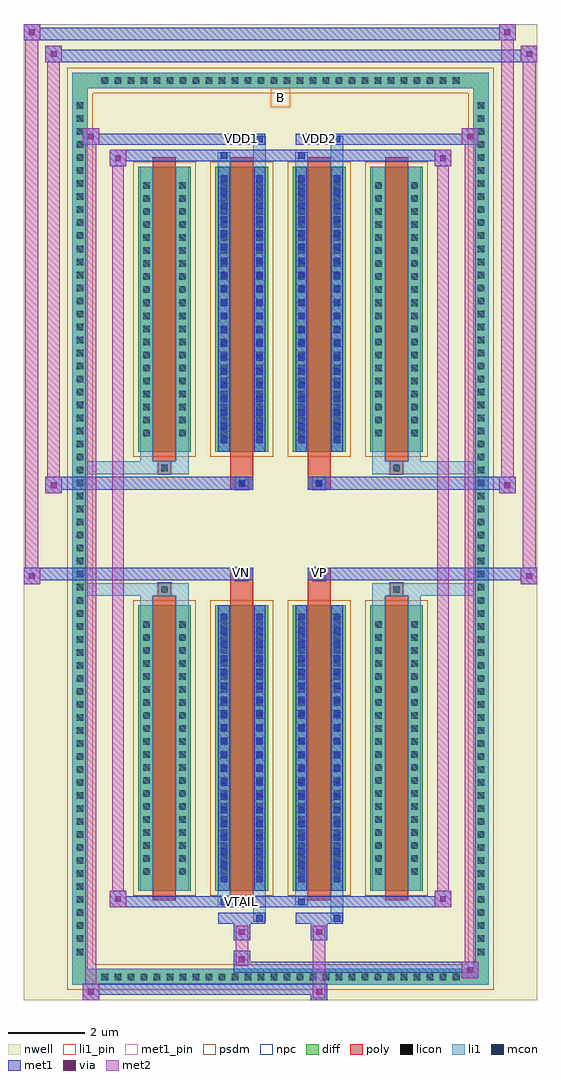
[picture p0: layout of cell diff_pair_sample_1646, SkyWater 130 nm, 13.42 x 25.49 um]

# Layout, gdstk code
import gdstk
lib = gdstk.Library(unit=1e-6, precision=5e-09)
def R(c, l, rs):  # rectangles x0, y0, x1, y1
    for r in rs: c.add(gdstk.rectangle(r[:2], r[2:], *l))
def A(c, l, x, y, w, h, nx, ny, dx, dy):  # array of equal rectangles
    R(c, l, [(x+i*dx, y+j*dy, x+i*dx+w, y+j*dy+h) for i in range(nx) for j in range(ny)])
def P(c, l, *ps):  # polygons
    for p in ps: c.add(gdstk.Polygon(p, *l))
nwell = (64, 20)
diff = (65, 20)
poly = (66, 20)
licon = (66, 44)
li1_pin = (67, 16)
li1 = (67, 20)
mcon = (67, 44)
met1_pin = (68, 16)
met1 = (68, 20)
via = (68, 44)
met2 = (69, 20)
psdm = (94, 20)
npc = (95, 20)

diff_pair_sample_1646 = lib.new_cell('diff_pair_sample_1646')
R(diff_pair_sample_1646, nwell, [(-6.71,-12.31,6.71,13.18), (-4.03,-10.5,-0.01,-0.82), (0.01,-10.5,4.03,-0.82), (-4.03,0.82,-0.01,10.5), (0.01,0.82,4.03,10.5)])
A(diff_pair_sample_1646, diff, -4.795, -11.91, 0.41, 0.41, 28, 2, 0.34, 23.41)
A(diff_pair_sample_1646, diff, -5.44, -11.255, 0.41, 0.41, 1, 66, 0, 0.34)
A(diff_pair_sample_1646, diff, 5.03, -11.255, 0.41, 0.41, 1, 66, 0, 0.34)
A(diff_pair_sample_1646, diff, -3.72, -9.455, 1.38, 7.45, 4, 2, 2.02, 11.46)
R(diff_pair_sample_1646, diff, [(-4.795,-11.91,4.795,-11.5), (-5.44,-11.255,-5.03,11.255), (5.03,-11.255,5.44,11.255), (-4.795,11.5,4.795,11.91)])
P(diff_pair_sample_1646, diff, [(5.44,11.91),(-5.44,11.91),(-5.44,-11.5),(-5.03,-11.5),(-5.03,11.5),(5.03,11.5),(5.03,-11.5),(-5.03,-11.5),(-5.44,-11.5),(-5.44,-11.91),(5.44,-11.91)])
A(diff_pair_sample_1646, poly, -3.33, -9.705, 0.6, 7.95, 4, 2, 2.02, 11.46)
R(diff_pair_sample_1646, poly, [(-3.195,-1.755,-2.865,-1.425), (-3.195,-1.755,-2.865,-1.425), (-1.31,-1.755,-0.71,-1.35), (0.71,-1.755,1.31,-1.35), (2.865,-1.755,3.195,-1.425), (2.865,-1.755,3.195,-1.425), (-1.31,-1.35,-0.71,-1.02), (-1.175,-1.35,-0.845,-1.02), (0.71,-1.35,1.31,-1.02), (0.845,-1.35,1.175,-1.02), (-1.31,1.02,-0.71,1.35), (-1.175,1.02,-0.845,1.35), (0.71,1.02,1.31,1.35), (0.845,1.02,1.175,1.35), (-1.31,1.35,-0.71,1.755), (0.71,1.35,1.31,1.755), (-3.195,1.425,-2.865,1.755), (-3.195,1.425,-2.865,1.755), (2.865,1.425,3.195,1.755), (2.865,1.425,3.195,1.755)])
A(diff_pair_sample_1646, licon, -4.675, -11.79, 0.17, 0.17, 28, 2, 0.34, 23.41)
A(diff_pair_sample_1646, licon, -5.32, -11.135, 0.17, 0.17, 1, 66, 0, 0.34)
A(diff_pair_sample_1646, licon, 5.15, -11.135, 0.17, 0.17, 1, 66, 0, 0.34)
A(diff_pair_sample_1646, licon, -3.58, -9.045, 0.17, 0.17, 1, 20, 0, 0.34)
A(diff_pair_sample_1646, licon, -2.65, -9.045, 0.17, 0.17, 1, 20, 0, 0.34)
A(diff_pair_sample_1646, licon, -1.56, -9.045, 0.17, 0.17, 1, 20, 0, 0.34)
A(diff_pair_sample_1646, licon, -0.63, -9.045, 0.17, 0.17, 1, 20, 0, 0.34)
A(diff_pair_sample_1646, licon, 0.46, -9.045, 0.17, 0.17, 1, 20, 0, 0.34)
A(diff_pair_sample_1646, licon, 1.39, -9.045, 0.17, 0.17, 1, 20, 0, 0.34)
A(diff_pair_sample_1646, licon, 2.48, -9.045, 0.17, 0.17, 1, 20, 0, 0.34)
A(diff_pair_sample_1646, licon, 3.41, -9.045, 0.17, 0.17, 1, 20, 0, 0.34)
A(diff_pair_sample_1646, licon, -3.58, 2.415, 0.17, 0.17, 1, 20, 0, 0.34)
A(diff_pair_sample_1646, licon, -2.65, 2.415, 0.17, 0.17, 1, 20, 0, 0.34)
A(diff_pair_sample_1646, licon, -1.56, 2.415, 0.17, 0.17, 1, 20, 0, 0.34)
A(diff_pair_sample_1646, licon, -0.63, 2.415, 0.17, 0.17, 1, 20, 0, 0.34)
A(diff_pair_sample_1646, licon, 0.46, 2.415, 0.17, 0.17, 1, 20, 0, 0.34)
A(diff_pair_sample_1646, licon, 1.39, 2.415, 0.17, 0.17, 1, 20, 0, 0.34)
A(diff_pair_sample_1646, licon, 2.48, 2.415, 0.17, 0.17, 1, 20, 0, 0.34)
A(diff_pair_sample_1646, licon, 3.41, 2.415, 0.17, 0.17, 1, 20, 0, 0.34)
R(diff_pair_sample_1646, licon, [(-3.115,-1.675,-2.945,-1.505), (2.945,-1.675,3.115,-1.505), (-1.095,-1.27,-0.925,-1.1), (0.925,-1.27,1.095,-1.1), (-1.095,1.1,-0.925,1.27), (0.925,1.1,1.095,1.27), (-3.115,1.505,-2.945,1.675), (2.945,1.505,3.115,1.675)])
R(diff_pair_sample_1646, li1_pin, [(-0.25,11,0.25,11.5)])
A(diff_pair_sample_1646, li1, -4.755, -11.87, 0.33, 0.33, 28, 2, 0.34, 23.41)
A(diff_pair_sample_1646, li1, -5.4, -11.215, 0.33, 0.33, 1, 66, 0, 0.34)
A(diff_pair_sample_1646, li1, 5.07, -11.215, 0.33, 0.33, 1, 66, 0, 0.34)
A(diff_pair_sample_1646, li1, -1.56, -9.235, 0.17, 0.17, 1, 20, 0, 0.36)
A(diff_pair_sample_1646, li1, -0.63, -9.235, 0.17, 0.17, 1, 20, 0, 0.36)
A(diff_pair_sample_1646, li1, 0.46, -9.235, 0.17, 0.17, 1, 20, 0, 0.36)
A(diff_pair_sample_1646, li1, 1.39, -9.235, 0.17, 0.17, 1, 20, 0, 0.36)
A(diff_pair_sample_1646, li1, -3.66, -9.125, 0.33, 0.33, 1, 20, 0, 0.34)
A(diff_pair_sample_1646, li1, -2.73, -9.125, 0.33, 0.33, 1, 20, 0, 0.34)
A(diff_pair_sample_1646, li1, -1.64, -9.125, 0.33, 0.33, 1, 20, 0, 0.34)
A(diff_pair_sample_1646, li1, -0.71, -9.125, 0.33, 0.33, 1, 20, 0, 0.34)
A(diff_pair_sample_1646, li1, 0.38, -9.125, 0.33, 0.33, 1, 20, 0, 0.34)
A(diff_pair_sample_1646, li1, 1.31, -9.125, 0.33, 0.33, 1, 20, 0, 0.34)
A(diff_pair_sample_1646, li1, 2.4, -9.125, 0.33, 0.33, 1, 20, 0, 0.34)
A(diff_pair_sample_1646, li1, 3.33, -9.125, 0.33, 0.33, 1, 20, 0, 0.34)
A(diff_pair_sample_1646, li1, -1.56, 2.225, 0.17, 0.17, 1, 20, 0, 0.36)
A(diff_pair_sample_1646, li1, -0.63, 2.225, 0.17, 0.17, 1, 20, 0, 0.36)
A(diff_pair_sample_1646, li1, 0.46, 2.225, 0.17, 0.17, 1, 20, 0, 0.36)
A(diff_pair_sample_1646, li1, 1.39, 2.225, 0.17, 0.17, 1, 20, 0, 0.36)
A(diff_pair_sample_1646, li1, -3.66, 2.335, 0.33, 0.33, 1, 20, 0, 0.34)
A(diff_pair_sample_1646, li1, -2.73, 2.335, 0.33, 0.33, 1, 20, 0, 0.34)
A(diff_pair_sample_1646, li1, -1.64, 2.335, 0.33, 0.33, 1, 20, 0, 0.34)
A(diff_pair_sample_1646, li1, -0.71, 2.335, 0.33, 0.33, 1, 20, 0, 0.34)
A(diff_pair_sample_1646, li1, 0.38, 2.335, 0.33, 0.33, 1, 20, 0, 0.34)
A(diff_pair_sample_1646, li1, 1.31, 2.335, 0.33, 0.33, 1, 20, 0, 0.34)
A(diff_pair_sample_1646, li1, 2.4, 2.335, 0.33, 0.33, 1, 20, 0, 0.34)
A(diff_pair_sample_1646, li1, 3.33, 2.335, 0.33, 0.33, 1, 20, 0, 0.34)
R(diff_pair_sample_1646, li1, [(-5.44,-11.91,-5.03,-11.5), (-5.44,-11.91,-5.03,-11.5), (-5.03,-11.91,5.03,-11.5), (5.03,-11.91,5.44,-11.5), (5.03,-11.91,5.44,-11.5), (-5.44,-11.5,-5.03,11.5), (5.03,-11.5,5.44,11.5), (-0.71,-10.26,-0.38,-9.455), (-0.63,-10.26,-0.46,-10.09), (1.31,-10.26,1.64,-9.455), (1.39,-10.26,1.56,-10.09), (-1.64,-9.83,-1.31,-9.455), (-1.56,-9.83,-1.39,-9.66), (0.38,-9.83,0.71,-9.455), (0.46,-9.83,0.63,-9.66), (-3.66,-9.455,-3.33,-2.005), (-2.73,-9.455,-2.4,-2.005), (-1.64,-9.455,-1.31,-2.005), (-0.71,-9.455,-0.38,-2.005), (0.38,-9.455,0.71,-2.005), (1.31,-9.455,1.64,-2.005), (2.4,-9.455,2.73,-2.005), (3.33,-9.455,3.66,-2.005), (-1.56,-9.235,-1.39,-2.225), (-0.63,-9.235,-0.46,-2.225), (0.46,-9.235,0.63,-2.225), (1.39,-9.235,1.56,-2.225), (-3.66,-2.005,-3.33,-1.425), (-2.73,-2.005,-2.4,-1.425), (2.4,-2.005,2.73,-1.425), (3.33,-2.005,3.66,-1.425), (-5.44,-1.755,-3.195,-1.425), (-3.66,-1.755,-3.195,-1.425), (-3.195,-1.755,-2.865,-1.425), (-2.865,-1.755,-2.4,-1.425), (2.4,-1.755,2.865,-1.425), (2.865,-1.755,3.195,-1.425), (2.865,-1.755,5.44,-1.425), (3.195,-1.755,3.66,-1.425), (-1.175,-1.35,-0.845,-1.02), (0.845,-1.35,1.175,-1.02), (-1.175,1.02,-0.845,1.35), (0.845,1.02,1.175,1.35), (-5.44,1.425,-3.195,1.755), (-3.66,1.425,-3.195,1.755), (-3.66,1.425,-3.33,2.005), (-3.195,1.425,-2.865,1.755), (-2.865,1.425,-2.4,1.755), (-2.73,1.425,-2.4,2.005), (2.4,1.425,2.865,1.755), (2.4,1.425,2.73,2.005), (2.865,1.425,3.195,1.755), (2.865,1.425,5.44,1.755), (3.195,1.425,3.66,1.755), (3.33,1.425,3.66,2.005), (-3.66,2.005,-3.33,9.455), (-2.73,2.005,-2.4,9.455), (-1.64,2.005,-1.31,9.455), (-0.71,2.005,-0.38,9.455), (0.38,2.005,0.71,9.455), (1.31,2.005,1.64,9.455), (2.4,2.005,2.73,9.455), (3.33,2.005,3.66,9.455), (-1.56,2.225,-1.39,9.235), (-0.63,2.225,-0.46,9.235), (0.46,2.225,0.63,9.235), (1.39,2.225,1.56,9.235), (-1.64,9.455,-1.31,9.83), (-0.71,9.455,-0.38,10.26), (0.38,9.455,0.71,9.83), (1.31,9.455,1.64,10.26), (-1.56,9.66,-1.39,9.83), (0.46,9.66,0.63,9.83), (-0.63,10.09,-0.46,10.26), (1.39,10.09,1.56,10.26), (-5.44,11.5,-5.03,11.91), (-5.44,11.5,-5.03,11.91), (-5.03,11.5,5.03,11.91), (5.03,11.5,5.44,11.91), (5.03,11.5,5.44,11.91)])
A(diff_pair_sample_1646, mcon, -1.56, -9.235, 0.17, 0.17, 1, 20, 0, 0.36)
A(diff_pair_sample_1646, mcon, -0.63, -9.235, 0.17, 0.17, 1, 20, 0, 0.36)
A(diff_pair_sample_1646, mcon, 0.46, -9.235, 0.17, 0.17, 1, 20, 0, 0.36)
A(diff_pair_sample_1646, mcon, 1.39, -9.235, 0.17, 0.17, 1, 20, 0, 0.36)
A(diff_pair_sample_1646, mcon, -1.56, 2.225, 0.17, 0.17, 1, 20, 0, 0.36)
A(diff_pair_sample_1646, mcon, -0.63, 2.225, 0.17, 0.17, 1, 20, 0, 0.36)
A(diff_pair_sample_1646, mcon, 0.46, 2.225, 0.17, 0.17, 1, 20, 0, 0.36)
A(diff_pair_sample_1646, mcon, 1.39, 2.225, 0.17, 0.17, 1, 20, 0, 0.36)
R(diff_pair_sample_1646, mcon, [(-0.63,-10.26,-0.46,-10.09), (1.39,-10.26,1.56,-10.09), (-1.56,-9.83,-1.39,-9.66), (0.46,-9.83,0.63,-9.66), (-1.095,-1.27,-0.925,-1.1), (0.925,-1.27,1.095,-1.1), (-1.095,1.1,-0.925,1.27), (0.925,1.1,1.095,1.27), (-1.56,9.66,-1.39,9.83), (0.46,9.66,0.63,9.83), (-0.63,10.09,-0.46,10.26), (1.39,10.09,1.56,10.26)])
R(diff_pair_sample_1646, met1_pin, [(-1.145,-9.87,-0.875,-9.6), (-1.145,-1.29,-0.875,-1.02), (0.875,-1.29,1.145,-1.02), (-1.145,10.05,-0.875,10.32), (0.875,10.05,1.145,10.32)])
A(diff_pair_sample_1646, met1, -1.62, -9.295, 0.29, 0.29, 1, 20, 0, 0.36)
A(diff_pair_sample_1646, met1, -0.69, -9.295, 0.29, 0.29, 1, 20, 0, 0.36)
A(diff_pair_sample_1646, met1, 0.4, -9.295, 0.29, 0.29, 1, 20, 0, 0.36)
A(diff_pair_sample_1646, met1, 1.33, -9.295, 0.29, 0.29, 1, 20, 0, 0.36)
A(diff_pair_sample_1646, met1, -1.62, 2.165, 0.29, 0.29, 1, 20, 0, 0.36)
A(diff_pair_sample_1646, met1, -0.69, 2.165, 0.29, 0.29, 1, 20, 0, 0.36)
A(diff_pair_sample_1646, met1, 0.4, 2.165, 0.29, 0.29, 1, 20, 0, 0.36)
A(diff_pair_sample_1646, met1, 1.33, 2.165, 0.29, 0.29, 1, 20, 0, 0.36)
R(diff_pair_sample_1646, met1, [(-5.17,-12.31,-4.74,-11.88), (0.795,-12.31,1.225,-11.88), (-5.17,-12.17,1.225,-11.88), (4.74,-11.74,5.17,-11.31), (-1.225,-11.6,5.17,-11.31), (-1.225,-11.46,-0.795,-11.03), (-1.225,-10.75,-0.795,-10.32), (0.795,-10.75,1.225,-10.32), (-1.62,-10.32,-0.4,-10.03), (-0.69,-10.32,-0.4,-10.03), (0.4,-10.32,1.62,-10.03), (1.33,-10.32,1.62,-10.03), (-4.46,-9.89,-4.03,-9.46), (-4.46,-9.89,-1.62,-9.6), (-1.62,-9.89,-1.33,-9.6), (-1.62,-9.89,-0.4,-9.6), (-0.4,-9.89,0.4,-9.6), (0.4,-9.89,0.69,-9.6), (0.4,-9.89,1.62,-9.6), (1.62,-9.89,4.46,-9.6), (4.03,-9.89,4.46,-9.46), (-1.62,-9.455,-1.33,-2.005), (-0.69,-9.455,-0.4,-2.005), (0.4,-9.455,0.69,-2.005), (1.33,-9.455,1.62,-2.005), (-6.71,-1.45,-6.28,-1.02), (6.28,-1.45,6.71,-1.02), (-6.71,-1.35,-0.71,-1.02), (-1.31,-1.35,-0.71,-1.02), (0.71,-1.35,1.31,-1.02), (0.71,-1.35,6.71,-1.02), (-1.155,-1.33,-0.865,-1.04), (0.865,-1.33,1.155,-1.04), (-6.14,0.92,-5.71,1.35), (5.71,0.92,6.14,1.35), (-6.14,1.02,-1.31,1.35), (-1.31,1.02,-0.71,1.35), (0.71,1.02,1.31,1.35), (1.31,1.02,6.14,1.35), (-1.155,1.04,-0.865,1.33), (0.865,1.04,1.155,1.33), (-1.62,2.005,-1.33,9.455), (-0.69,2.005,-0.4,9.455), (0.4,2.005,0.69,9.455), (1.33,2.005,1.62,9.455), (-4.46,9.46,-4.03,9.89), (4.03,9.46,4.46,9.89), (-4.46,9.6,-1.62,9.89), (-1.62,9.6,-1.33,9.89), (-1.62,9.6,-0.4,9.89), (-0.4,9.6,0.4,9.89), (0.4,9.6,0.69,9.89), (0.4,9.6,1.62,9.89), (1.62,9.6,4.46,9.89), (-5.17,10.03,-4.74,10.46), (-5.17,10.03,-1.62,10.32), (-1.62,10.03,-0.4,10.32), (-0.69,10.03,-0.4,10.32), (0.4,10.03,1.62,10.32), (1.33,10.03,1.62,10.32), (1.62,10.03,5.17,10.32), (4.74,10.03,5.17,10.46), (-6.14,12.18,-5.71,12.61), (-6.14,12.18,-4.03,12.51), (-4.03,12.18,4.03,12.51), (4.03,12.18,6.71,12.51), (6.28,12.18,6.71,12.61), (-6.71,12.75,-6.28,13.18), (-6.71,12.75,-4.03,13.08), (-4.03,12.75,4.03,13.08), (4.03,12.75,6.14,13.08), (5.71,12.75,6.14,13.18)])
R(diff_pair_sample_1646, via, [(-5.03,-12.17,-4.88,-12.02), (0.935,-12.17,1.085,-12.02), (4.88,-11.6,5.03,-11.45), (-1.085,-11.32,-0.935,-11.17), (-1.085,-10.61,-0.935,-10.46), (0.935,-10.61,1.085,-10.46), (-4.32,-9.75,-4.17,-9.6), (4.17,-9.75,4.32,-9.6), (-6.57,-1.31,-6.42,-1.16), (6.42,-1.31,6.57,-1.16), (-6,1.06,-5.85,1.21), (5.85,1.06,6,1.21), (-4.32,9.6,-4.17,9.75), (4.17,9.6,4.32,9.75), (-5.03,10.17,-4.88,10.32), (4.88,10.17,5.03,10.32), (-6,12.32,-5.85,12.47), (6.42,12.32,6.57,12.47), (-6.57,12.89,-6.42,13.04), (5.85,12.89,6,13.04)])
R(diff_pair_sample_1646, met2, [(-5.17,-12.31,-4.74,-11.88), (-5.1,-12.31,-4.81,10.46), (-4.81,-12.31,-4.74,-11.88), (-5.12,-12.26,-4.79,-11.93), (0.845,-12.26,1.175,-11.93), (0.845,-11.93,1.175,-10.7), (4.74,-11.74,5.17,-11.31), (4.81,-11.74,5.1,10.46), (5.1,-11.74,5.17,-11.31), (4.79,-11.69,5.12,-11.36), (-1.175,-11.41,-0.845,-11.08), (-1.175,-11.08,-0.845,-10.7), (-1.175,-10.7,-0.845,-10.37), (0.845,-10.7,1.175,-10.37), (-4.46,-9.89,-4.03,-9.46), (-4.39,-9.89,-4.1,9.89), (-4.1,-9.89,-4.03,-9.46), (4.03,-9.89,4.46,-9.46), (4.1,-9.89,4.39,9.89), (4.39,-9.89,4.46,-9.46), (-4.41,-9.84,-4.08,-9.51), (4.08,-9.84,4.41,-9.51), (-6.71,-1.45,-6.28,-1.02), (-6.66,-1.45,-6.33,13.18), (-6.33,-1.45,-6.28,-1.02), (6.28,-1.45,6.71,-1.02), (6.33,-1.45,6.66,12.61), (6.66,-1.45,6.71,-1.02), (-6.66,-1.4,-6.33,-1.07), (6.33,-1.4,6.66,-1.07), (-6.14,0.92,-5.71,1.35), (-6.09,0.92,-5.76,12.61), (-5.76,0.92,-5.71,1.35), (5.71,0.92,6.14,1.35), (5.76,0.92,6.09,13.18), (6.09,0.92,6.14,1.35), (-6.09,0.97,-5.76,1.3), (5.76,0.97,6.09,1.3), (-4.46,9.46,-4.03,9.89), (-4.1,9.46,-4.03,9.89), (4.03,9.46,4.46,9.89), (4.39,9.46,4.46,9.89), (-4.41,9.51,-4.08,9.84), (4.08,9.51,4.41,9.84), (-5.17,10.03,-4.74,10.46), (-4.81,10.03,-4.74,10.46), (4.74,10.03,5.17,10.46), (5.1,10.03,5.17,10.46), (-5.12,10.08,-4.79,10.41), (4.79,10.08,5.12,10.41), (-6.14,12.18,-5.71,12.61), (-5.76,12.18,-5.71,12.61), (6.28,12.18,6.71,12.61), (6.66,12.18,6.71,12.61), (-6.09,12.23,-5.76,12.56), (6.33,12.23,6.66,12.56), (-6.71,12.75,-6.28,13.18), (-6.33,12.75,-6.28,13.18), (5.71,12.75,6.14,13.18), (6.09,12.75,6.14,13.18), (-6.66,12.8,-6.33,13.13), (5.76,12.8,6.09,13.13)])
A(diff_pair_sample_1646, psdm, -3.85, -9.585, 1.64, 7.71, 4, 2, 2.02, 11.46)
P(diff_pair_sample_1646, psdm, [(5.57,12.04),(-5.57,12.04),(-5.57,-11.37),(-4.9,-11.37),(-4.9,11.37),(4.9,11.37),(4.9,-11.37),(-4.9,-11.37),(-5.57,-11.37),(-5.57,-12.04),(5.57,-12.04)])
R(diff_pair_sample_1646, npc, [(-3.215,-1.775,-2.845,-1.405), (2.845,-1.775,3.215,-1.405), (-1.195,-1.37,-0.825,-1), (0.825,-1.37,1.195,-1), (-1.195,1,-0.825,1.37), (0.825,1,1.195,1.37), (-3.215,1.405,-2.845,1.775), (2.845,1.405,3.215,1.775)])
diff_pair_sample_1646.add(gdstk.Label('VTAIL', (-1.01,-9.735), layer=68, texttype=5))
diff_pair_sample_1646.add(gdstk.Label('VN', (-1.01,-1.155), layer=68, texttype=5))
diff_pair_sample_1646.add(gdstk.Label('VP', (1.01,-1.155), layer=68, texttype=5))
diff_pair_sample_1646.add(gdstk.Label('B', (0,11.25), layer=67, texttype=5))
diff_pair_sample_1646.add(gdstk.Label('VDD2', (1.01,10.185), layer=68, texttype=5))
diff_pair_sample_1646.add(gdstk.Label('VDD1', (-1.01,10.185), layer=68, texttype=5))

lib.write_gds('diff_pair_sample_1646.gds')
